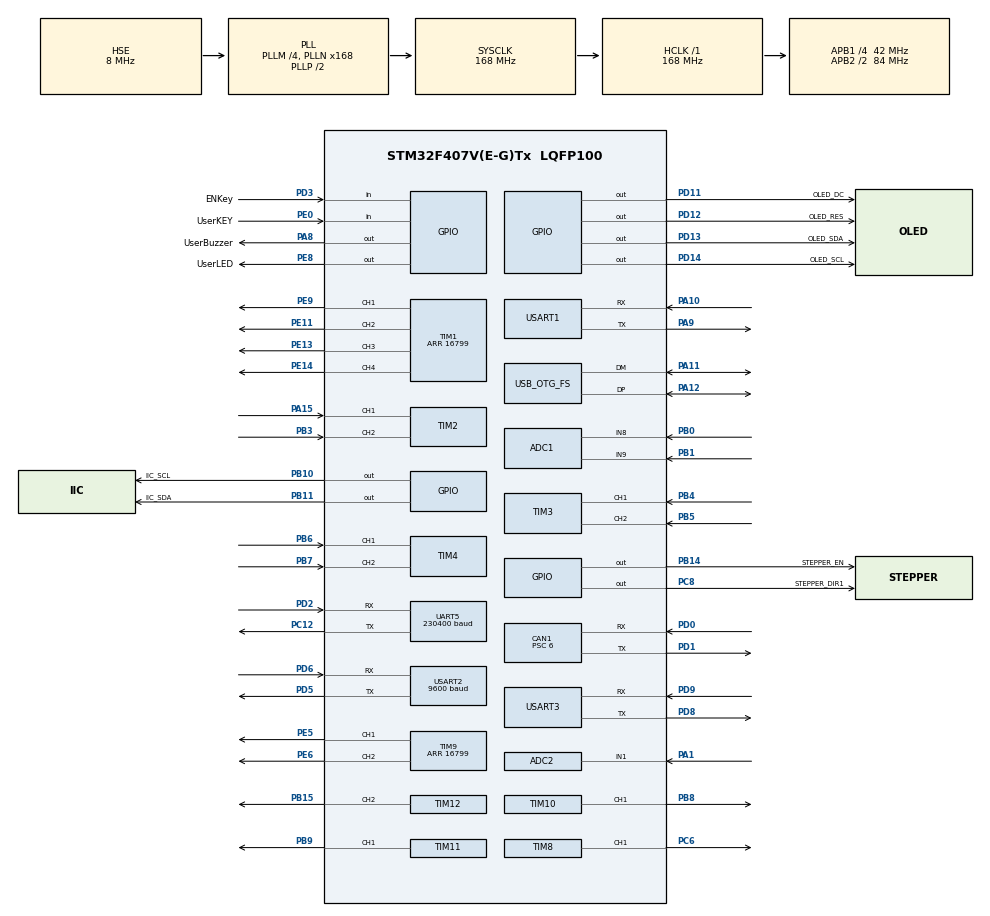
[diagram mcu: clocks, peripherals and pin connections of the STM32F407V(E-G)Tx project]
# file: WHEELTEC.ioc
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ADC1.Channel-0\#ChannelRegularConversion=ADC_CHANNEL_8
ADC1.Channel-1\#ChannelRegularConversion=ADC_CHANNEL_9
ADC1.ClockPrescaler=ADC_CLOCK_SYNC_PCLK_DIV6
ADC1.ContinuousConvMode=ENABLE
ADC1.DMAContinuousRequests=ENABLE
ADC1.NbrOfConversion=2
ADC1.NbrOfConversionFlag=1
ADC1.Rank-0\#ChannelRegularConversion=1
ADC1.Rank-1\#ChannelRegularConversion=2
ADC1.SamplingTime-0\#ChannelRegularConversion=ADC_SAMPLETIME_480CYCLES
ADC1.SamplingTime-1\#ChannelRegularConversion=ADC_SAMPLETIME_480CYCLES
ADC1.ScanConvMode=ENABLE
ADC1.master=1
ADC2.Channel-0\#ChannelRegularConversion=ADC_CHANNEL_1
ADC2.ClockPrescaler=ADC_CLOCK_SYNC_PCLK_DIV6
ADC2.ContinuousConvMode=ENABLE
ADC2.DMAContinuousRequests=ENABLE
ADC2.NbrOfConversionFlag=1
ADC2.Rank-0\#ChannelRegularConversion=1
ADC2.SamplingTime-0\#ChannelRegularConversion=ADC_SAMPLETIME_480CYCLES
ADC2.ScanConvMode=ENABLE
CAN1.BS1=CAN_BS1_4TQ
CAN1.BS2=CAN_BS2_2TQ
CAN1.CalculateBaudRate=1000000
CAN1.CalculateTimeBit=1000
CAN1.CalculateTimeQuantum=142.85714285714286
CAN1.Prescaler=6
Dma.ADC1.2.Direction=DMA_PERIPH_TO_MEMORY
Dma.ADC1.2.FIFOMode=DMA_FIFOMODE_DISABLE
Dma.ADC1.2.Instance=DMA2_Stream0
Dma.ADC1.2.MemDataAlignment=DMA_MDATAALIGN_HALFWORD
Dma.ADC1.2.MemInc=DMA_MINC_ENABLE
Dma.ADC1.2.Mode=DMA_CIRCULAR
Dma.ADC1.2.PeriphDataAlignment=DMA_PDATAALIGN_HALFWORD
Dma.ADC1.2.PeriphInc=DMA_PINC_DISABLE
Dma.ADC1.2.Priority=DMA_PRIORITY_LOW
Dma.ADC2.5.Direction=DMA_PERIPH_TO_MEMORY
Dma.ADC2.5.FIFOMode=DMA_FIFOMODE_DISABLE
Dma.ADC2.5.Instance=DMA2_Stream2
Dma.ADC2.5.MemDataAlignment=DMA_MDATAALIGN_HALFWORD
Dma.ADC2.5.MemInc=DMA_MINC_ENABLE
Dma.ADC2.5.Mode=DMA_CIRCULAR
Dma.ADC2.5.PeriphDataAlignment=DMA_PDATAALIGN_HALFWORD
Dma.ADC2.5.PeriphInc=DMA_PINC_DISABLE
Dma.ADC2.5.Priority=DMA_PRIORITY_LOW
Dma.Request0=USART1_TX
Dma.Request1=USART3_TX
Dma.Request2=ADC1
Dma.Request3=USART2_TX
Dma.Request4=UART5_RX
Dma.Request5=ADC2
Dma.UART5_RX.4.Direction=DMA_PERIPH_TO_MEMORY
Dma.UART5_RX.4.FIFOMode=DMA_FIFOMODE_DISABLE
Dma.UART5_RX.4.Instance=DMA1_Stream0
Dma.UART5_RX.4.MemDataAlignment=DMA_MDATAALIGN_BYTE
Dma.UART5_RX.4.MemInc=DMA_MINC_ENABLE
Dma.UART5_RX.4.Mode=DMA_NORMAL
Dma.UART5_RX.4.PeriphDataAlignment=DMA_PDATAALIGN_BYTE
Dma.UART5_RX.4.PeriphInc=DMA_PINC_DISABLE
Dma.UART5_RX.4.Priority=DMA_PRIORITY_LOW
Dma.USART1_TX.0.Direction=DMA_MEMORY_TO_PERIPH
Dma.USART1_TX.0.FIFOMode=DMA_FIFOMODE_DISABLE
Dma.USART1_TX.0.Instance=DMA2_Stream7
Dma.USART1_TX.0.MemDataAlignment=DMA_MDATAALIGN_BYTE
Dma.USART1_TX.0.MemInc=DMA_MINC_ENABLE
Dma.USART1_TX.0.Mode=DMA_NORMAL
Dma.USART1_TX.0.PeriphDataAlignment=DMA_PDATAALIGN_BYTE
Dma.USART1_TX.0.PeriphInc=DMA_PINC_DISABLE
Dma.USART1_TX.0.Priority=DMA_PRIORITY_LOW
Dma.USART2_TX.3.Direction=DMA_MEMORY_TO_PERIPH
Dma.USART2_TX.3.FIFOMode=DMA_FIFOMODE_DISABLE
Dma.USART2_TX.3.Instance=DMA1_Stream6
Dma.USART2_TX.3.MemDataAlignment=DMA_MDATAALIGN_BYTE
Dma.USART2_TX.3.MemInc=DMA_MINC_ENABLE
Dma.USART2_TX.3.Mode=DMA_NORMAL
Dma.USART2_TX.3.PeriphDataAlignment=DMA_PDATAALIGN_BYTE
Dma.USART2_TX.3.PeriphInc=DMA_PINC_DISABLE
Dma.USART2_TX.3.Priority=DMA_PRIORITY_LOW
Dma.USART3_TX.1.Direction=DMA_MEMORY_TO_PERIPH
Dma.USART3_TX.1.FIFOMode=DMA_FIFOMODE_DISABLE
Dma.USART3_TX.1.Instance=DMA1_Stream3
Dma.USART3_TX.1.MemDataAlignment=DMA_MDATAALIGN_BYTE
Dma.USART3_TX.1.MemInc=DMA_MINC_ENABLE
Dma.USART3_TX.1.Mode=DMA_NORMAL
Dma.USART3_TX.1.PeriphDataAlignment=DMA_PDATAALIGN_BYTE
Dma.USART3_TX.1.PeriphInc=DMA_PINC_DISABLE
Dma.USART3_TX.1.Priority=DMA_PRIORITY_LOW
FREERTOS.Tasks01=InitTask,32,128,StartDefaultTask,Default,NULL,Dynamic,NULL,NULL
FREERTOS.configCHECK_FOR_STACK_OVERFLOW=2
FREERTOS.configENABLE_FPU=1
FREERTOS.configGENERATE_RUN_TIME_STATS=1
FREERTOS.configTOTAL_HEAP_SIZE=51200
FREERTOS.configUSE_IDLE_HOOK=1
FREERTOS.configUSE_MALLOC_FAILED_HOOK=1
FREERTOS.configUSE_STATS_FORMATTING_FUNCTIONS=1
Mcu.Family=STM32F4
Mcu.Name=STM32F407V(E-G)Tx
Mcu.Package=LQFP100
NVIC.CAN1_RX0_IRQn=true\:5\:0\:false\:false\:true\:true\:true\:true\:true
NVIC.DMA1_Stream0_IRQn=true\:5\:0\:false\:false\:true\:true\:false\:true\:true
NVIC.DMA1_Stream3_IRQn=true\:5\:0\:false\:false\:true\:true\:false\:true\:true
NVIC.DMA1_Stream6_IRQn=true\:5\:0\:false\:false\:true\:true\:false\:true\:true
NVIC.DMA2_Stream0_IRQn=true\:5\:0\:false\:false\:true\:true\:false\:true\:true
NVIC.DMA2_Stream2_IRQn=true\:5\:0\:false\:false\:true\:true\:false\:true\:true
NVIC.DMA2_Stream7_IRQn=true\:5\:0\:false\:false\:true\:true\:false\:true\:true
NVIC.OTG_FS_IRQn=true\:5\:0\:false\:false\:true\:true\:false\:true\:true
NVIC.TIM8_CC_IRQn=true\:5\:0\:false\:false\:true\:true\:true\:true\:true
NVIC.PriorityGroup=NVIC_PRIORITYGROUP_4
NVIC.TIM7_IRQn=true\:0\:0\:true\:false\:true\:false\:false\:true\:true
NVIC.TimeBase=TIM7_IRQn
NVIC.TimeBaseIP=TIM7
NVIC.UART5_IRQn=true\:5\:0\:false\:false\:true\:true\:true\:true\:true
NVIC.USART1_IRQn=true\:5\:0\:false\:false\:true\:true\:true\:true\:true
NVIC.USART2_IRQn=true\:5\:0\:false\:false\:true\:true\:true\:true\:true
NVIC.USART3_IRQn=true\:5\:0\:false\:false\:true\:true\:true\:true\:true
PA1.Signal=ADCx_IN1
PA10.Mode=Asynchronous
PA10.Signal=USART1_RX
PA11.Mode=Host_Only
PA11.Signal=USB_OTG_FS_DM
PA12.Mode=Host_Only
PA12.Signal=USB_OTG_FS_DP
PA13.Mode=Serial_Wire
PA13.Signal=SYS_JTMS-SWDIO
PA14.Mode=Serial_Wire
PA14.Signal=SYS_JTCK-SWCLK
PA15.Signal=S_TIM2_CH1_ETR
PA8.GPIO_Label=UserBuzzer
PA8.PinState=GPIO_PIN_RESET
PA8.Signal=GPIO_Output
PA9.Mode=Asynchronous
PA9.Signal=USART1_TX
PB0.Signal=ADCx_IN8
PB1.Signal=ADCx_IN9
PB10.GPIO_Label=IIC_SCL
PB10.GPIO_Speed=GPIO_SPEED_FREQ_VERY_HIGH
PB10.PinState=GPIO_PIN_SET
PB10.Signal=GPIO_Output
PB11.GPIO_Label=IIC_SDA
PB11.GPIO_Speed=GPIO_SPEED_FREQ_VERY_HIGH
PB11.PinState=GPIO_PIN_SET
PB11.Signal=GPIO_Output
PB15.Signal=S_TIM12_CH2
PB3.Signal=S_TIM2_CH2
PB4.Signal=S_TIM3_CH1
PB5.Signal=S_TIM3_CH2
PB6.Signal=S_TIM4_CH1
PB7.Signal=S_TIM4_CH2
PB8.Signal=S_TIM10_CH1
PB9.Signal=S_TIM11_CH1
PB14.GPIO_Label=STEPPER_EN
PB14.GPIO_Speed=GPIO_SPEED_FREQ_HIGH
PB14.PinState=GPIO_PIN_RESET
PB14.Signal=GPIO_Output
PC12.Mode=Asynchronous
PC12.Signal=UART5_TX
PC6.GPIO_PuPd=GPIO_PULLDOWN
PC6.GPIO_Speed=GPIO_SPEED_FREQ_HIGH
PC6.Signal=S_TIM8_CH1
PC8.GPIO_Label=STEPPER_DIR1
PC8.GPIO_Speed=GPIO_SPEED_FREQ_HIGH
PC8.PinState=GPIO_PIN_RESET
PC8.Signal=GPIO_Output
PD0.Mode=CAN_Activate
PD0.Signal=CAN1_RX
PD1.Mode=CAN_Activate
PD1.Signal=CAN1_TX
PD11.GPIO_Label=OLED_DC
PD11.GPIO_Speed=GPIO_SPEED_FREQ_VERY_HIGH
PD11.Signal=GPIO_Output
PD12.GPIO_Label=OLED_RES
PD12.GPIO_Speed=GPIO_SPEED_FREQ_VERY_HIGH
PD12.Signal=GPIO_Output
PD13.GPIO_Label=OLED_SDA
PD13.GPIO_Speed=GPIO_SPEED_FREQ_VERY_HIGH
PD13.Signal=GPIO_Output
PD14.GPIO_Label=OLED_SCL
PD14.GPIO_Speed=GPIO_SPEED_FREQ_VERY_HIGH
PD14.Signal=GPIO_Output
PD2.Mode=Asynchronous
PD2.Signal=UART5_RX
PD3.GPIO_Label=ENKey
PD3.GPIO_PuPd=GPIO_PULLUP
PD3.Signal=GPIO_Input
PD5.Mode=Asynchronous
PD5.Signal=USART2_TX
PD6.Mode=Asynchronous
PD6.Signal=USART2_RX
PD8.Mode=Asynchronous
PD8.Signal=USART3_TX
PD9.Mode=Asynchronous
PD9.Signal=USART3_RX
PE0.GPIO_Label=UserKEY
PE0.GPIO_PuPd=GPIO_PULLUP
PE0.Signal=GPIO_Input
PE11.Signal=S_TIM1_CH2
PE13.Signal=S_TIM1_CH3
PE14.Signal=S_TIM1_CH4
PE5.Signal=S_TIM9_CH1
PE6.Signal=S_TIM9_CH2
PE8.GPIO_Label=UserLED
PE8.PinState=GPIO_PIN_SET
PE8.Signal=GPIO_Output
PE9.Signal=S_TIM1_CH1
PH0-OSC_IN.Mode=HSE-External-Oscillator
PH0-OSC_IN.Signal=RCC_OSC_IN
PH1-OSC_OUT.Mode=HSE-External-Oscillator
PH1-OSC_OUT.Signal=RCC_OSC_OUT
ProjectManager.HeapSize=0x200
ProjectManager.StackSize=0x400
ProjectManager.TargetToolchain=MDK-ARM V5.32
RCC.48MHZClocksFreq_Value=48000000
RCC.AHBFreq_Value=168000000
RCC.APB1CLKDivider=RCC_HCLK_DIV4
RCC.APB1Freq_Value=42000000
RCC.APB1TimFreq_Value=84000000
RCC.APB2CLKDivider=RCC_HCLK_DIV2
RCC.APB2Freq_Value=84000000
RCC.APB2TimFreq_Value=168000000
RCC.CortexFreq_Value=168000000
RCC.HCLKFreq_Value=168000000
RCC.HSE_VALUE=8000000
RCC.HSI_VALUE=16000000
RCC.LSE_VALUE=32768
RCC.PLLM=4
RCC.PLLN=168
RCC.PLLQ=7
RCC.SYSCLKFreq_VALUE=168000000
RCC.SYSCLKSource=RCC_SYSCLKSOURCE_PLLCLK
RCC.VCOOutputFreq_Value=336000000
SH.ADCx_IN1.0=ADC2_IN1,IN1
SH.ADCx_IN8.0=ADC1_IN8,IN8
SH.ADCx_IN9.0=ADC1_IN9,IN9
SH.S_TIM10_CH1.0=TIM10_CH1,PWM Generation1 CH1
SH.S_TIM11_CH1.0=TIM11_CH1,PWM Generation1 CH1
SH.S_TIM12_CH2.0=TIM12_CH2,PWM Generation2 CH2
SH.S_TIM1_CH1.0=TIM1_CH1,PWM Generation1 CH1
SH.S_TIM1_CH2.0=TIM1_CH2,PWM Generation2 CH2
SH.S_TIM1_CH3.0=TIM1_CH3,PWM Generation3 CH3
SH.S_TIM1_CH4.0=TIM1_CH4,PWM Generation4 CH4
SH.S_TIM2_CH1_ETR.0=TIM2_CH1,Encoder_Interface
SH.S_TIM2_CH2.0=TIM2_CH2,Encoder_Interface
SH.S_TIM3_CH1.0=TIM3_CH1,Encoder_Interface
SH.S_TIM3_CH2.0=TIM3_CH2,Encoder_Interface
SH.S_TIM4_CH1.0=TIM4_CH1,Encoder_Interface
SH.S_TIM4_CH2.0=TIM4_CH2,Encoder_Interface
SH.S_TIM8_CH1.0=TIM8_CH1,Output Compare1 CH1
SH.S_TIM9_CH1.0=TIM9_CH1,PWM Generation1 CH1
SH.S_TIM9_CH2.0=TIM9_CH2,PWM Generation2 CH2
TIM1.Channel-PWM\ Generation1\ CH1=TIM_CHANNEL_1
TIM1.Channel-PWM\ Generation2\ CH2=TIM_CHANNEL_2
TIM1.Channel-PWM\ Generation3\ CH3=TIM_CHANNEL_3
TIM1.Channel-PWM\ Generation4\ CH4=TIM_CHANNEL_4
TIM1.Period=16799
TIM10.Channel=TIM_CHANNEL_1
TIM10.Period=16799
TIM11.Channel=TIM_CHANNEL_1
TIM11.Period=16799
TIM12.Channel-PWM\ Generation2\ CH2=TIM_CHANNEL_2
TIM12.Period=9999
TIM12.Prescaler=83
TIM2.EncoderMode=TIM_ENCODERMODE_TI12
TIM3.EncoderMode=TIM_ENCODERMODE_TI12
TIM4.EncoderMode=TIM_ENCODERMODE_TI12
TIM6.Prescaler=839
TIM8.AutoReloadPreload=TIM_AUTORELOAD_PRELOAD_DISABLE
TIM8.Channel-Output\ Compare1\ CH1=TIM_CHANNEL_1
TIM8.OCMode_1=TIM_OCMODE_TOGGLE
TIM8.Period=65535
TIM8.Prescaler=1679
TIM9.Channel-PWM\ Generation1\ CH1=TIM_CHANNEL_1
TIM9.Channel-PWM\ Generation2\ CH2=TIM_CHANNEL_2
TIM9.Period=16799
UART5.BaudRate=230400
UART5.VirtualMode=Asynchronous
USART1.VirtualMode=VM_ASYNC
USART2.BaudRate=9600
USART2.VirtualMode=VM_ASYNC
USART3.VirtualMode=VM_ASYNC
USB_HOST.SW_VBUS_DRIVE_HID_FS=true
USB_HOST.USBH_HandleTypeDef-HID_FS=hUsbHostFS
USB_HOST.USBH_MAX_DATA_BUFFER-HID_FS=2048
USB_HOST.USBH_MAX_NUM_SUPPORTED_CLASS-HID_FS=2
USB_HOST.USBH_PROCESS_STACK_SIZE-HID_FS=1024
USB_HOST.VirtualModeFS=Hid
USB_OTG_FS.VirtualMode=Host_Only
USB_OTG_FS.phy_itface=HCD_PHY_EMBEDDED
VP_FREERTOS_VS_CMSIS_V2.Mode=CMSIS_V2
VP_SYS_VS_tim7.Mode=TIM7
VP_TIM10_VS_ClockSourceINT.Mode=Enable_Timer
VP_TIM11_VS_ClockSourceINT.Mode=Enable_Timer
VP_TIM1_VS_ClockSourceINT.Mode=Internal
VP_TIM6_VS_ClockSourceINT.Mode=Enable_Timer
VP_USB_HOST_VS_USB_HOST_HID_FS.Mode=HID_FS
board=custom

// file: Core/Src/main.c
/* USER CODE BEGIN Header */
/**
  ******************************************************************************
  * @file           : main.c
  * @brief          : Main program body
  ******************************************************************************
  * @attention
  *
  * Copyright (c) 2025 STMicroelectronics.
  * All rights reserved.
  *
  * This software is licensed under terms that can be found in the LICENSE file
  * in the root directory of this software component.
  * If no LICENSE file comes with this software, it is provided AS-IS.
  *
  ******************************************************************************
  */
/* USER CODE END Header */
#include "main.h"
#include "cmsis_os.h"
#include "adc.h"
#include "can.h"
#include "dma.h"
#include "tim.h"
#include "usart.h"
#include "usb_host.h"
#include "gpio.h"

/* USER CODE BEGIN Includes */

//C Lib Include File
#include <stdio.h>

//BSP Include File
#include "bsp_dwt.h"
#include "bsp_oled.h"
#include "bsp_adc.h"
#include "bsp_icm20948.h"
#include "bsp_flash.h"

//APP Include File
#include "robot_select_init.h"

/* USER CODE END Includes */

void SystemClock_Config(void);
void MX_FREERTOS_Init(void);

int main(void)
{

  /* MCU Configuration--------------------------------------------------------*/

  /* Reset of all peripherals, Initializes the Flash interface and the Systick. */
  HAL_Init();

  /* Configure the system clock */
  SystemClock_Config();

  /* Initialize all configured peripherals */
  MX_GPIO_Init();
  MX_DMA_Init();
  MX_USART1_UART_Init();
  MX_USART2_UART_Init();
  MX_USART3_UART_Init();
  MX_TIM1_Init();
  MX_TIM2_Init();
  MX_TIM3_Init();
  MX_TIM4_Init();
  MX_TIM9_Init();
  MX_TIM10_Init();
  MX_TIM11_Init();
  MX_TIM12_Init();
  MX_ADC1_Init();
  MX_TIM6_Init();
  MX_CAN1_Init();
  MX_UART5_Init();
  MX_ADC2_Init();
  MX_TIM8_Init();
  /* USER CODE BEGIN 2 */

	//启动RTOS调试定时器
	HAL_TIM_Base_Start(&htim6);

	//DWT定时器初始化,用于实现ms、us延时函数
	DWT_Init();

	//启动ADC采集电压、车型
	ADC_Userconfig_Init();

	//OLED初始化
	pOLEDInterface_t oled = &UserOLED;
	oled->init();

	//编码器采集启动
	HAL_TIM_Encoder_Start(&htim2,TIM_CHANNEL_1);
	HAL_TIM_Encoder_Start(&htim2,TIM_CHANNEL_2);
	HAL_TIM_Encoder_Start(&htim3,TIM_CHANNEL_1);
	HAL_TIM_Encoder_Start(&htim3,TIM_CHANNEL_2);
	HAL_TIM_Encoder_Start(&htim4,TIM_CHANNEL_1);
	HAL_TIM_Encoder_Start(&htim4,TIM_CHANNEL_2);
//	HAL_TIM_Encoder_Start(&htim5,TIM_CHANNEL_1);
//	HAL_TIM_Encoder_Start(&htim5,TIM_CHANNEL_2);

	//电机驱动PWM
	HAL_TIM_PWM_Start(&htim1,TIM_CHANNEL_1);
	HAL_TIM_PWM_Start(&htim1,TIM_CHANNEL_2);
	HAL_TIM_PWM_Start(&htim1,TIM_CHANNEL_3);
	HAL_TIM_PWM_Start(&htim1,TIM_CHANNEL_4);
	HAL_TIM_PWM_Start(&htim9,TIM_CHANNEL_1);
	HAL_TIM_PWM_Start(&htim9,TIM_CHANNEL_2);
	HAL_TIM_PWM_Start(&htim10,TIM_CHANNEL_1);
	HAL_TIM_PWM_Start(&htim11,TIM_CHANNEL_1);
	__HAL_TIM_SET_COMPARE(&htim1,TIM_CHANNEL_1,0);
	__HAL_TIM_SET_COMPARE(&htim1,TIM_CHANNEL_2,0);
	__HAL_TIM_SET_COMPARE(&htim1,TIM_CHANNEL_3,0);
	__HAL_TIM_SET_COMPARE(&htim1,TIM_CHANNEL_4,0);
	__HAL_TIM_SET_COMPARE(&htim9,TIM_CHANNEL_1,0);
	__HAL_TIM_SET_COMPARE(&htim9,TIM_CHANNEL_2,0);
	__HAL_TIM_SET_COMPARE(&htim10,TIM_CHANNEL_1,0);
	__HAL_TIM_SET_COMPARE(&htim11,TIM_CHANNEL_1,0);

	//舵机驱动PWM
	HAL_TIM_PWM_Start(&htim12,TIM_CHANNEL_2);
	__HAL_TIM_SET_COMPARE(&htim12,TIM_CHANNEL_2,0);

	//电位器选择车型
	HAL_Delay(500);
	Robot_Select();

	//读取用户保存的默认速度值
	uint32_t flashdata[4];
	User_Flash_ReadParam((uint32_t *)flashdata,4);

	//小车默认遥控速度值
	if( flashdata[0]!=0xFFFFFFFF )
	{
		if( flashdata[0]<=3500 )
			RobotControlParam.defalutSpeed = flashdata[0];
	}

	//pid参数
	if( flashdata[1]!=0xFFFFFFFF )
	{
		RobotControlParam.kp = *((float*)&flashdata[1]);
	}

	if( flashdata[2]!=0xFFFFFFFF )
	{
		RobotControlParam.ki = *((float*)&flashdata[2]);
	}

	//纠偏系数值
	if( flashdata[3]!=0xFFFFFFFF )
	{
		if( flashdata[1]<=100 )
			RobotControlParam.LineDiffParam = flashdata[3];
	}

  /* USER CODE END 2 */

  /* Init scheduler */
  osKernelInitialize();

  /* Call init function for freertos objects (in cmsis_os2.c) */
  MX_FREERTOS_Init();

  /* Start scheduler */
  osKernelStart();

  /* We should never get here as control is now taken by the scheduler */

  /* Infinite loop */
  while (1)
  {

  }
}

void SystemClock_Config(void)
{
  RCC_OscInitTypeDef RCC_OscInitStruct = {0};
  RCC_ClkInitTypeDef RCC_ClkInitStruct = {0};

  /** Configure the main internal regulator output voltage
  */
  __HAL_RCC_PWR_CLK_ENABLE();
  __HAL_PWR_VOLTAGESCALING_CONFIG(PWR_REGULATOR_VOLTAGE_SCALE1);

  /** Initializes the RCC Oscillators according to the specified parameters
  * in the RCC_OscInitTypeDef structure.
  */
  RCC_OscInitStruct.OscillatorType = RCC_OSCILLATORTYPE_HSE;
  RCC_OscInitStruct.HSEState = RCC_HSE_ON;
  RCC_OscInitStruct.PLL.PLLState = RCC_PLL_ON;
  RCC_OscInitStruct.PLL.PLLSource = RCC_PLLSOURCE_HSE;
  RCC_OscInitStruct.PLL.PLLM = 4;
  RCC_OscInitStruct.PLL.PLLN = 168;
  RCC_OscInitStruct.PLL.PLLP = RCC_PLLP_DIV2;
  RCC_OscInitStruct.PLL.PLLQ = 7;
  if (HAL_RCC_OscConfig(&RCC_OscInitStruct) != HAL_OK)
  {
    Error_Handler();
  }

  /** Initializes the CPU, AHB and APB buses clocks
  */
  RCC_ClkInitStruct.ClockType = RCC_CLOCKTYPE_HCLK|RCC_CLOCKTYPE_SYSCLK
                              |RCC_CLOCKTYPE_PCLK1|RCC_CLOCKTYPE_PCLK2;
  RCC_ClkInitStruct.SYSCLKSource = RCC_SYSCLKSOURCE_PLLCLK;
  RCC_ClkInitStruct.AHBCLKDivider = RCC_SYSCLK_DIV1;
  RCC_ClkInitStruct.APB1CLKDivider = RCC_HCLK_DIV4;
  RCC_ClkInitStruct.APB2CLKDivider = RCC_HCLK_DIV2;

  if (HAL_RCC_ClockConfig(&RCC_ClkInitStruct, FLASH_LATENCY_5) != HAL_OK)
  {
    Error_Handler();
  }
}

/* USER CODE BEGIN 4 */

UART_HandleTypeDef *DebugSerial = &huart1;

//printf函数实现
int fputc(int ch,FILE* stream)
{
	while( HAL_OK != HAL_UART_Transmit(DebugSerial,(const uint8_t *)&ch,1,100));
	return ch;
}

/* USER CODE END 4 */

void HAL_TIM_PeriodElapsedCallback(TIM_HandleTypeDef *htim)
{
  if (htim->Instance == TIM7) {
    HAL_IncTick();
  }
}

void Error_Handler(void)
{
  __disable_irq();
  while (1)
  {
  }
}

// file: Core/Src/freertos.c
/* USER CODE BEGIN Header */
/**
  ******************************************************************************
  * File Name          : freertos.c
  * Description        : Code for freertos applications
  ******************************************************************************
  * @attention
  *
  * Copyright (c) 2025 STMicroelectronics.
  * All rights reserved.
  *
  * This software is licensed under terms that can be found in the LICENSE file
  * in the root directory of this software component.
  * If no LICENSE file comes with this software, it is provided AS-IS.
  *
  ******************************************************************************
  */
/* USER CODE END Header */

#include "FreeRTOS.h"
#include "task.h"
#include "main.h"
#include "cmsis_os.h"

/* USER CODE BEGIN Includes */

//C Include File
#include <stdio.h>

//STM32 Include File
#include "usart.h"

//FreeRTOS Include File
#include "queue.h"

/////////// 测试 /////////////////

#include "bsp_oled.h"
#include "bsp_led.h"
#include "bsp_dwt.h"
#include "bsp_buzzer.h"
#include "bsp_adc.h"
#include "bsp_can.h"
#include "bsp_stp23L.h"
/////////// 测试 END /////////////

/* USER CODE END Includes */

/* USER CODE BEGIN PD */

//FreeRTOS系统调试
#define userconfig_OPEN_STACK_CHECK     0  //开启任务栈大小检查打印
#define userconfig_OPEN_CPU_USAGE_CHECK 0  //开启检查CPU占比打印
#define userconfig_OPEN_CHECK_HEAPSIZE  0  //检查剩余的堆大小

/* USER CODE END PD */

/* USER CODE BEGIN Variables */

uint8_t BlueToothBuffer = 0;//蓝牙串口接收缓冲
uint8_t rosbuffer = 0;      //ROS串口接收缓冲区
uint8_t usart1_buffer = 0;  //串口1接收缓冲区

//蓝牙数据队列
QueueHandle_t g_xQueueBlueTooth = NULL;

//ROS数据队列
QueueHandle_t  g_xQueueROSserial = NULL;

//定义STP23L模块的队列
QueueHandle_t g_xQueuestp23L_Ori=NULL;//存放STP23L原始数据

/* USER CODE END Variables */
/* Definitions for InitTask */
osThreadId_t InitTaskHandle;
const osThreadAttr_t InitTask_attributes = {
  .name = "InitTask",
  .stack_size = 128 * 4,
  .priority = (osPriority_t) osPriorityAboveNormal,
};

/* USER CODE BEGIN FunctionPrototypes */

//FreeRTOS系统调试任务
#if ( 1 == userconfig_OPEN_CPU_USAGE_CHECK ) || ( 1 == userconfig_OPEN_STACK_CHECK ) || ( 1 == userconfig_OPEN_CHECK_HEAPSIZE )
void CpuUsageCheckTask(void *param);
#endif

//任务声明
void RobotControlTask(void* param);
void ImuTask(void* param);
void show_task(void* param);
void BlueToothControlTask(void* param);
void APPshow_task(void* param);
void RobotDataTransmitTask(void* param);
void DataCheckTask(void* param);
void STP23L_Task(void *param);
/* USER CODE END FunctionPrototypes */

void StartDefaultTask(void *argument);

extern void MX_USB_HOST_Init(void);
void MX_FREERTOS_Init(void); /* (MISRA C 2004 rule 8.1) */

/* Hook prototypes */
void configureTimerForRunTimeStats(void);
unsigned long getRunTimeCounterValue(void);
void vApplicationIdleHook(void);
void vApplicationStackOverflowHook(xTaskHandle xTask, signed char *pcTaskName);
void vApplicationMallocFailedHook(void);

/* USER CODE BEGIN 1 */
/* Functions needed when configGENERATE_RUN_TIME_STATS is on */
__weak void configureTimerForRunTimeStats(void)
{
	//使用cpu占比计时器前初始化内容
	TIM6->CNT = 0;
}

__weak unsigned long getRunTimeCounterValue(void)
{
	static unsigned long time = 0 ;
	static uint16_t lasttime = 0;
	static uint16_t nowtime = 0;

	nowtime = TIM6->CNT; //获得当前计数值

	//如果本次计数值小于上次计数值，说明发生了定时器计数溢出
	if( nowtime < lasttime )
	{
		time += (nowtime + 0xffff - lasttime); //溢出后的时间增量
	}
	else time += ( nowtime - lasttime ) ; //未发生溢出，增量为本次时间-上次时间

	lasttime = nowtime;

	return time;
}
/* USER CODE END 1 */

/* USER CODE BEGIN 2 */
void vApplicationIdleHook( void )
{
   /* vApplicationIdleHook() will only be called if configUSE_IDLE_HOOK is set
   to 1 in FreeRTOSConfig.h. It will be called on each iteration of the idle
   task. It is essential that code added to this hook function never attempts
   to block in any way (for example, call xQueueReceive() with a block time
   specified, or call vTaskDelay()). If the application makes use of the
   vTaskDelete() API function (as this demo application does) then it is also
   important that vApplicationIdleHook() is permitted to return to its calling
   function, because it is the responsibility of the idle task to clean up
   memory allocated by the kernel to any task that has since been deleted. */

	//空闲任务钩子函数
}
/* USER CODE END 2 */

/* USER CODE BEGIN 4 */
void vApplicationStackOverflowHook(xTaskHandle xTask, signed char *pcTaskName)
{
   /* Run time stack overflow checking is performed if
   configCHECK_FOR_STACK_OVERFLOW is defined to 1 or 2. This hook function is
   called if a stack overflow is detected. */

	//任务栈溢出警告
	printf("%s stack overflow\r\n",pcTaskName);
}
/* USER CODE END 4 */

/* USER CODE BEGIN 5 */
void vApplicationMallocFailedHook(void)
{
   /* vApplicationMallocFailedHook() will only be called if
   configUSE_MALLOC_FAILED_HOOK is set to 1 in FreeRTOSConfig.h. It is a hook
   function that will get called if a call to pvPortMalloc() fails.
   pvPortMalloc() is called internally by the kernel whenever a task, queue,
   timer or semaphore is created. It is also called by various parts of the
   demo application. If heap_1.c or heap_2.c are used, then the size of the
   heap available to pvPortMalloc() is defined by configTOTAL_HEAP_SIZE in
   FreeRTOSConfig.h, and the xPortGetFreeHeapSize() API function can be used
   to query the size of free heap space that remains (although it does not
   provide information on how the remaining heap might be fragmented). */

	//内存分配失败警告
	printf("malloc failed.check heapsize\r\n");
}
/* USER CODE END 5 */

void MX_FREERTOS_Init(void) {

  /* USER CODE BEGIN RTOS_QUEUES */
  /* add queues, ... */
	g_xQueueBlueTooth = xQueueCreate(50,sizeof(char));//蓝牙数据队列
	g_xQueueROSserial = xQueueCreate(50,sizeof(char));//ROS数据队列

	//创建STP23L激光测距模块队列
	g_xQueuestp23L_Ori = xQueueCreate(3,sizeof(OriData_STP23L_t));

  /* USER CODE END RTOS_QUEUES */

  /* Create the thread(s) */
  /* creation of InitTask */
  InitTaskHandle = osThreadNew(StartDefaultTask, NULL, &InitTask_attributes);

  /* USER CODE BEGIN RTOS_THREADS */
  /* add threads, ... */

  //小车控制任务
  xTaskCreate(RobotControlTask,"ControlTask",128*4,NULL,osPriorityAboveNormal1,NULL);

  //IMU数据读取任务
  xTaskCreate(ImuTask,"ImuTask",128*4,NULL,osPriorityNormal,NULL);

  //数据发送任务
//  xTaskCreate(RobotDataTransmitTask,"data_task",128*4,NULL,osPriorityNormal,NULL);

  //蓝牙数据解析任务
  xTaskCreate(BlueToothControlTask,"BTControlTask",128*2,NULL,osPriorityNormal,NULL);

  //OLED显示任务
  xTaskCreate(show_task,"showTask",128*4,NULL,osPriorityBelowNormal7,NULL);

	//创建STP23L数据处理任务
	xTaskCreate(STP23L_Task,"STP23L_Task",128*2,NULL,osPriorityNormal,NULL);

  //APP显示任务
//  xTaskCreate(APPshow_task,"AppShow",128*2,NULL,osPriorityBelowNormal7,NULL);

  //全局数据检查任务
  xTaskCreate(DataCheckTask,"DataCheck",128,NULL,osPriorityNormal,NULL);

	//FreeRTOS调试任务
	#if ( 1 == userconfig_OPEN_CPU_USAGE_CHECK ) || ( 1 == userconfig_OPEN_STACK_CHECK ) || ( 1 == userconfig_OPEN_CHECK_HEAPSIZE )
	 static uint16_t delaytime = 5000;//打印时间间隔，单位tick
	 xTaskCreate(CpuUsageCheckTask,"DebugTask",128, &delaytime ,osPriorityAboveNormal,NULL);
	#endif
  /* USER CODE END RTOS_THREADS */

}

void StartDefaultTask(void *argument)
{
  /* init code for USB_HOST */
  MX_USB_HOST_Init();
  /* USER CODE BEGIN StartDefaultTask */
  /* Infinite loop */

	//开机提示
	pBuzzerInterface_t tips = &UserBuzzer;
	tips->AddTask(1,800);

	//启用串口中断
	HAL_UART_Receive_IT(&huart2,&BlueToothBuffer,1);
	HAL_UART_Receive_IT(&huart3,&rosbuffer,1);

//	HAL_UARTEx_ReceiveToIdle_DMA(&huart5,mr20lidar_buffer,userconfig_MR20LidarDMA_LEN);
//	HAL_UARTEx_ReceiveToIdle_DMA(&huart6,mr20lidar_buffer_id2,userconfig_MR20LidarDMA_LEN);

	//启动STP23L激光测距模块的DMA搬运
	HAL_UARTEx_ReceiveToIdle_DMA(&huart5,DMABuf_oridata_stp23L.Buf,userconfig_STP23L_DMABUF_LEN);

	//CAN初始化
	pCANInterface_t candev = &UserCAN1Dev;
	candev->init();

//	printf("system start!\r\n");

	vTaskDelete(NULL);
  for(;;)
  {

  }
  /* USER CODE END StartDefaultTask */
}

/* USER CODE BEGIN Application */

#if ( 1 == userconfig_OPEN_CPU_USAGE_CHECK ) || ( 1 == userconfig_OPEN_STACK_CHECK ) || ( 1 == userconfig_OPEN_CHECK_HEAPSIZE )
void CpuUsageCheckTask(void *param)
{
	uint16_t* delaytime = (uint16_t*)param;
	static char showbuf[500];

	while( 1 )
	{
#if 1 == userconfig_OPEN_CPU_USAGE_CHECK
		//打印CPU占比
		vTaskGetRunTimeStats(showbuf);
		printf("TaskName\tUseTime\tCPU\r\n");
		printf("%s\r\n",showbuf);
		vTaskDelay(*delaytime);
#endif

#if 1 == userconfig_OPEN_STACK_CHECK
		//打印剩余任务栈大小,单位word
		vTaskList(showbuf);
		printf("TaskName\tTaskState\tTaskPrio\tStackSize\tTaskNum\r\n");
		printf("%s\r\n",showbuf);
		vTaskDelay(*delaytime);
#endif

#if 1 == userconfig_OPEN_CHECK_HEAPSIZE
		//打印剩余的堆区大小,单位bytes
		printf("free heap size : %d bytes\r\n\r\n",xPortGetFreeHeapSize());
		vTaskDelay(*delaytime);
#endif
	}
}
#endif

/* USER CODE END Application */
